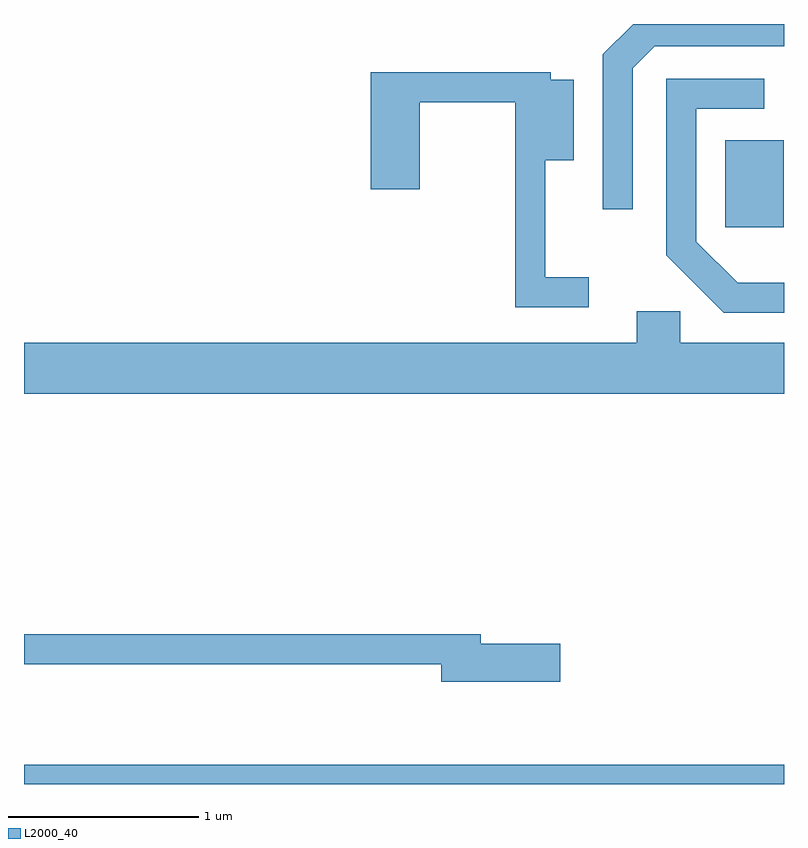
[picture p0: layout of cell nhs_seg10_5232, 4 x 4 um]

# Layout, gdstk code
import gdstk
lib = gdstk.Library(unit=1e-6, precision=1e-09)
def R(c, l, rs):  # rectangles x0, y0, x1, y1
    for r in rs: c.add(gdstk.rectangle(r[:2], r[2:], *l))
def P(c, l, *ps):  # polygons
    for p in ps: c.add(gdstk.Polygon(p, *l))
L2000_40 = (2000, 40)

nhs_seg10_5232 = lib.new_cell('nhs_seg10_5232')
R(nhs_seg10_5232, L2000_40, [(339.611,2118.522,343.611,2118.624), (343.301,2121.451,343.609,2121.909)])
P(nhs_seg10_5232, L2000_40, [(342.814,2122.289),(342.932,2122.406),(343.611,2122.406),(343.611,2122.522),(342.817,2122.522),(342.656,2122.362),(342.656,2121.548),(342.814,2121.548)],
  [(342.583,2121.189),(342.354,2121.189),(342.354,2121.806),(342.504,2121.806),(342.504,2122.229),(342.384,2122.229),(342.384,2122.269),(341.436,2122.269),(341.436,2121.651),(341.694,2121.651),(341.694,2122.111),(342.196,2122.111),(342.196,2121.031),(342.583,2121.031)],
  [(343.611,2121.159),(343.367,2121.159),(343.149,2121.377),(343.149,2122.076),(343.508,2122.076),(343.508,2122.234),(342.991,2122.234),(342.991,2121.304),(343.294,2121.001),(343.611,2121.001)],
  [(343.611,2120.844),(343.064,2120.844),(343.064,2121.009),(342.836,2121.009),(342.836,2120.844),(339.611,2120.844),(339.611,2120.576),(343.611,2120.576)],
  [(342.434,2119.259),(342.014,2119.259),(342.014,2119.309),(339.611,2119.309),(339.611,2119.151),(341.806,2119.151),(341.806,2119.061),(342.434,2119.061)])

lib.write_gds('nhs_seg10_5232.gds')
